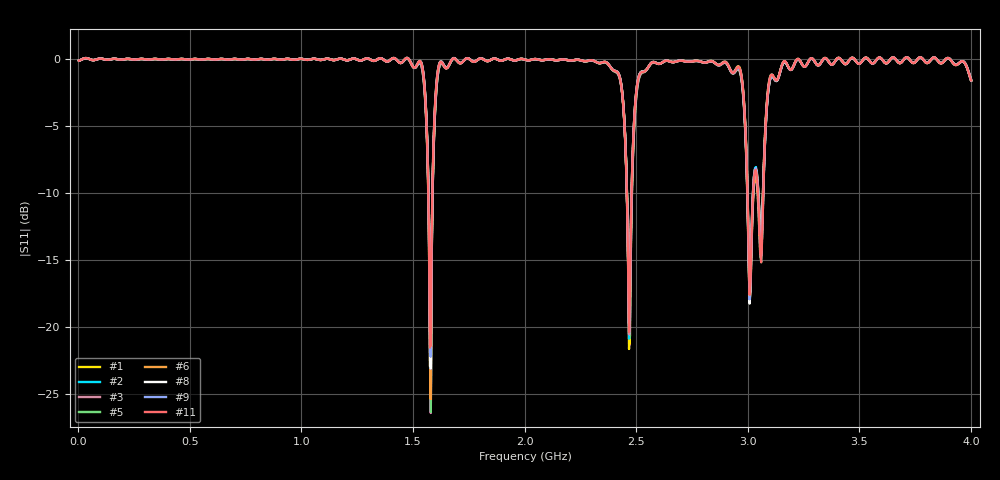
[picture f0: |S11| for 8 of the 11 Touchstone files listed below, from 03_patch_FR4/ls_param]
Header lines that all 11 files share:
! TOUCHSTONE file generated by CST MICROWAVE STUDIO
! Project name: AppElm_antenne_patch_FR4.cst
! Header version: 2018
! Port assignment regex: !\s*Touchstone port\s*([0-9]+)\s*=\s*(CST MWS port|CST DS port)\s*([0-9]+|Zmin|Zmax)\s*\(\"(.*)\"\)(\s*mode\s*([0-9]+))?.*
! Touchstone port assignment:
! Touchstone port 1 = CST MWS port 1 ("")
# GHz S MA R 50
Fixed: L = 45, W = 58.5, e = 0.035, h = 1.6, lambda = 0.190476, w0 = 2.54, w1 = 0.847, ws = 120, y0 = 18, y1 = 23.8
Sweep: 4 MHz to 4 GHz
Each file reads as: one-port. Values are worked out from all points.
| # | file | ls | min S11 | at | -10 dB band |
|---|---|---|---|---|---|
| 1 | AppElm_antenne_patch_FR4_1.s1p | 90 | -23.4 dB | 1.58 GHz | 22.52 MHz wide |
| 2 | AppElm_antenne_patch_FR4_2.s1p | 96 | -25.5 dB | 1.58 GHz | 22.05 MHz wide |
| 3 | AppElm_antenne_patch_FR4_3.s1p | 102 | -26.4 dB | 1.58 GHz | 21.86 MHz wide |
| 4 | AppElm_antenne_patch_FR4_4.s1p | 108 | -27.2 dB | 1.58 GHz | 21.58 MHz wide |
| 5 | AppElm_antenne_patch_FR4_5.s1p | 114 | -26.4 dB | 1.58 GHz | 26.25 MHz wide |
| 6 | AppElm_antenne_patch_FR4_6.s1p | 120 | -25.4 dB | 1.58 GHz | 26.92 MHz wide |
| 7 | AppElm_antenne_patch_FR4_7.s1p | 126 | -24.1 dB | 1.58 GHz | 26.93 MHz wide |
| 8 | AppElm_antenne_patch_FR4_8.s1p | 132 | -23.1 dB | 1.58 GHz | 26.09 MHz wide |
| 9 | AppElm_antenne_patch_FR4_9.s1p | 138 | -22.2 dB | 1.58 GHz | 25.51 MHz wide |
| 10 | AppElm_antenne_patch_FR4_10.s1p | 144 | -21.6 dB | 1.58 GHz | 25.13 MHz wide |
| 11 | AppElm_antenne_patch_FR4_11.s1p | 150 | -21.5 dB | 1.576 GHz | 25.22 MHz wide |
